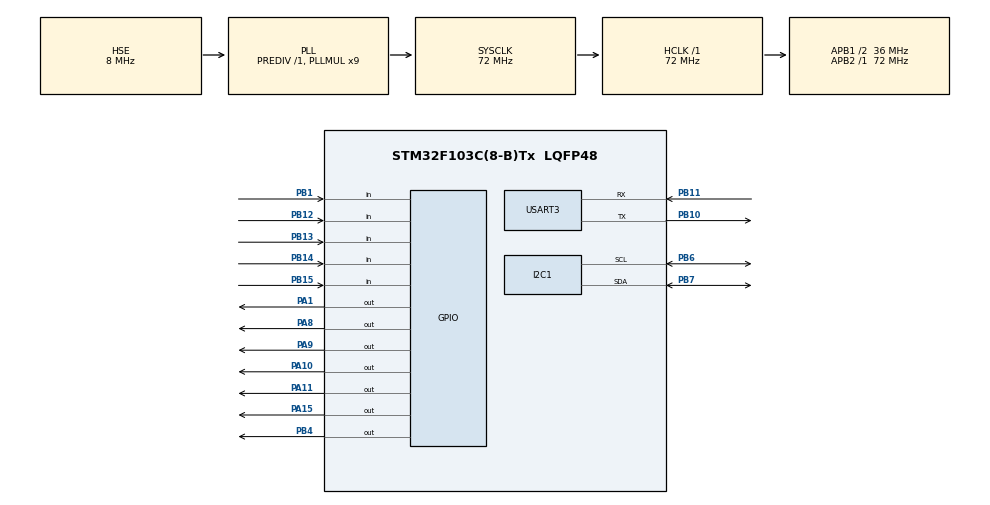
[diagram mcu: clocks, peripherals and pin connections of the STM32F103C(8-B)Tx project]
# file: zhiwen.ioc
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Mcu.Family=STM32F1
Mcu.Name=STM32F103C(8-B)Tx
Mcu.Package=LQFP48
NVIC.PriorityGroup=NVIC_PRIORITYGROUP_4
NVIC.TIM3_IRQn=true\:0\:0\:false\:false\:true\:true
NVIC.USART3_IRQn=true\:0\:0\:false\:false\:true\:true
PA1.PinState=GPIO_PIN_RESET
PA1.Signal=GPIO_Output
PA10.Signal=GPIO_Output
PA11.Signal=GPIO_Output
PA13.Mode=Serial_Wire
PA13.Signal=SYS_JTMS-SWDIO
PA14.Mode=Serial_Wire
PA14.Signal=SYS_JTCK-SWCLK
PA15.Signal=GPIO_Output
PA8.Signal=GPIO_Output
PA9.Signal=GPIO_Output
PB1.GPIO_PuPd=GPIO_PULLDOWN
PB1.Signal=GPIO_Input
PB10.Mode=Asynchronous
PB10.Signal=USART3_TX
PB11.Mode=Asynchronous
PB11.Signal=USART3_RX
PB12.GPIO_PuPd=GPIO_PULLUP
PB12.Signal=GPIO_Input
PB13.GPIO_PuPd=GPIO_PULLUP
PB13.Signal=GPIO_Input
PB14.GPIO_PuPd=GPIO_PULLUP
PB14.Signal=GPIO_Input
PB15.GPIO_PuPd=GPIO_PULLUP
PB15.Signal=GPIO_Input
PB4.PinState=GPIO_PIN_SET
PB4.Signal=GPIO_Output
PB6.Mode=I2C
PB6.Signal=I2C1_SCL
PB7.Mode=I2C
PB7.Signal=I2C1_SDA
PD0-OSC_IN.Mode=HSE-External-Oscillator
PD0-OSC_IN.Signal=RCC_OSC_IN
PD1-OSC_OUT.Mode=HSE-External-Oscillator
PD1-OSC_OUT.Signal=RCC_OSC_OUT
ProjectManager.HeapSize=0x200
ProjectManager.StackSize=0x400
ProjectManager.TargetToolchain=EWARM V7
RCC.AHBFreq_Value=72000000
RCC.APB1CLKDivider=RCC_HCLK_DIV2
RCC.APB1Freq_Value=36000000
RCC.APB1TimFreq_Value=72000000
RCC.APB2Freq_Value=72000000
RCC.APB2TimFreq_Value=72000000
RCC.HCLKFreq_Value=72000000
RCC.PLLMUL=RCC_PLL_MUL9
RCC.PLLSourceVirtual=RCC_PLLSOURCE_HSE
RCC.SYSCLKFreq_VALUE=72000000
RCC.SYSCLKSource=RCC_SYSCLKSOURCE_PLLCLK
RCC.USBFreq_Value=72000000
TIM3.Period=1000-1
TIM3.Prescaler=72-1
USART3.VirtualMode=VM_ASYNC
VP_TIM3_VS_ClockSourceINT.Mode=Internal
board=custom

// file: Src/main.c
/**
  ******************************************************************************
  * @file           : main.c
  * @brief          : Main program body
  ******************************************************************************
  ** This notice applies to any and all portions of this file
  * that are not between comment pairs USER CODE BEGIN and
  * USER CODE END. Other portions of this file, whether
  * inserted by the user or by software development tools
  * are owned by their respective copyright owners.
  *
  * COPYRIGHT(c) 2019 STMicroelectronics
  *
  * Redistribution and use in source and binary forms, with or without modification,
  * are permitted provided that the following conditions are met:
  *   1. Redistributions of source code must retain the above copyright notice,
  *      this list of conditions and the following disclaimer.
  *   2. Redistributions in binary form must reproduce the above copyright notice,
  *      this list of conditions and the following disclaimer in the documentation
  *      and/or other materials provided with the distribution.
  *   3. Neither the name of STMicroelectronics nor the names of its contributors
  *      may be used to endorse or promote products derived from this software
  *      without specific prior written permission.
  *
  * THIS SOFTWARE IS PROVIDED BY THE COPYRIGHT HOLDERS AND CONTRIBUTORS "AS IS"
  * AND ANY EXPRESS OR IMPLIED WARRANTIES, INCLUDING, BUT NOT LIMITED TO, THE
  * IMPLIED WARRANTIES OF MERCHANTABILITY AND FITNESS FOR A PARTICULAR PURPOSE ARE
  * DISCLAIMED. IN NO EVENT SHALL THE COPYRIGHT HOLDER OR CONTRIBUTORS BE LIABLE
  * FOR ANY DIRECT, INDIRECT, INCIDENTAL, SPECIAL, EXEMPLARY, OR CONSEQUENTIAL
  * DAMAGES (INCLUDING, BUT NOT LIMITED TO, PROCUREMENT OF SUBSTITUTE GOODS OR
  * SERVICES; LOSS OF USE, DATA, OR PROFITS; OR BUSINESS INTERRUPTION) HOWEVER
  * CAUSED AND ON ANY THEORY OF LIABILITY, WHETHER IN CONTRACT, STRICT LIABILITY,
  * OR TORT (INCLUDING NEGLIGENCE OR OTHERWISE) ARISING IN ANY WAY OUT OF THE USE
  * OF THIS SOFTWARE, EVEN IF ADVISED OF THE POSSIBILITY OF SUCH DAMAGE.
  *
  ******************************************************************************
  */
#include "main.h"
#include "stm32f1xx_hal.h"
#include "i2c.h"
#include "tim.h"
#include "usart.h"
#include "gpio.h"

/* USER CODE BEGIN Includes */
#include "bsp_EEPROM.h"
#include "HW_key.h"
#include "as608.h"
/* USER CODE END Includes */

/* USER CODE BEGIN PV */
/* Private variables ---------------------------------------------------------*/

/* USER CODE END PV */

void SystemClock_Config(void);

/* USER CODE BEGIN PFP */
/* Private function prototypes -----------------------------------------------*/

/* USER CODE END PFP */

/* USER CODE BEGIN 0 */
uint8_t I2c_Buf_Write[256]={0};
uint8_t I2c_Buf_Read[256]={0};
uint8_t key[8];
SysPara AS608Para;//指纹模块AS608参数
u16 ValidN;//模块内有效指纹个数
void Add_FR(void);	//录指纹
void Del_FR(void);	//删除指纹
void press_FR(void);//刷指纹
//显示确认码错误信息
void ShowErrMessage(u8 ensure)
{
//	LCD_Fill(0,120,lcddev.width,160,WHITE);
//	Show_Str_Mid(0,120,(u8*)EnsureMessage(ensure),16,240);
}
/* USER CODE END 0 */

int main(void)
{
  /* USER CODE BEGIN 1 */
  u8 ensure;
  /* USER CODE END 1 */

  /* MCU Configuration----------------------------------------------------------*/

  /* Reset of all peripherals, Initializes the Flash interface and the Systick. */
  HAL_Init();

  /* Configure the system clock */
  SystemClock_Config();

  /* Initialize all configured peripherals */
  MX_GPIO_Init();
  MX_I2C1_Init();
  MX_USART3_UART_Init();
  MX_TIM3_Init();
  /* USER CODE BEGIN 2 */
 __HAL_UART_ENABLE_IT(&huart3,UART_IT_RXNE);//开启接收中断
// HAL_TIM_Base_Start_IT(&htim3);
//  uint16_t i;
//  	for ( i=0; i<256; i++ ) //填充缓冲
//  {
//    I2c_Buf_Read[i]=0;      // 清空接收缓冲区
//    I2c_Buf_Write[i] = i;   // 为发送缓冲区填充数据
//    printf("0x%02X ", I2c_Buf_Write[i]);
//    if(i%16 == 15)
//        printf("\n");
//   }
//  for(i=0;i<256;i+=8)
//  {
//    I2C_EEPROM_WriteBuffer(EEPROM_I2C_ADDRESS,i,I2C_MEMADD_SIZE_8BIT,&I2c_Buf_Write[i],8);
//    HAL_Delay(5);// 短延时不能少
//  }
//
//   printf("读出的数据:\n");
//   I2C_EEPROM_ReadBuffer(EEPROM_I2C_ADDRESS,0,I2C_MEMADD_SIZE_8BIT,&I2c_Buf_Read[0],256);
//   for (i=0;i<256;i++)
//	 {
//    if(I2c_Buf_Read[i] != I2c_Buf_Write[i])
//		{
//			printf("0x%02X ", I2c_Buf_Read[i]);
//			printf("错误:I2C EEPROM写入与读出的数据不一致\n\r");
//			break;
//		}
//    printf("0x%02X ", I2c_Buf_Read[i]);
//    if(i%16 == 15)
//        printf("\n");
//	}
//  if(i==256)
//  {
//    printf("EEPROM(AT24C02)读写测试成功\n\r");
//  }
       	while(PS_HandShake(&AS608Addr))//与AS608模块握手
	{
          HAL_Delay(100);
	}
  char key_confirm;

  /* USER CODE END 2 */

  /* Infinite loop */
  /* USER CODE BEGIN WHILE */
  while (1)
  {

 //   ensure=PS_ValidTempleteNum(&ValidN);//读库指纹个数
   // key_confirm = KEY_SCAN();
    Add_FR();
    printf("1");
  /* USER CODE END WHILE */

  }

}

void SystemClock_Config(void)
{

  RCC_OscInitTypeDef RCC_OscInitStruct;
  RCC_ClkInitTypeDef RCC_ClkInitStruct;

    /**Initializes the CPU, AHB and APB busses clocks
    */
  RCC_OscInitStruct.OscillatorType = RCC_OSCILLATORTYPE_HSE;
  RCC_OscInitStruct.HSEState = RCC_HSE_ON;
  RCC_OscInitStruct.HSEPredivValue = RCC_HSE_PREDIV_DIV1;
  RCC_OscInitStruct.HSIState = RCC_HSI_ON;
  RCC_OscInitStruct.PLL.PLLState = RCC_PLL_ON;
  RCC_OscInitStruct.PLL.PLLSource = RCC_PLLSOURCE_HSE;
  RCC_OscInitStruct.PLL.PLLMUL = RCC_PLL_MUL9;
  if (HAL_RCC_OscConfig(&RCC_OscInitStruct) != HAL_OK)
  {
    _Error_Handler(__FILE__, __LINE__);
  }

    /**Initializes the CPU, AHB and APB busses clocks
    */
  RCC_ClkInitStruct.ClockType = RCC_CLOCKTYPE_HCLK|RCC_CLOCKTYPE_SYSCLK
                              |RCC_CLOCKTYPE_PCLK1|RCC_CLOCKTYPE_PCLK2;
  RCC_ClkInitStruct.SYSCLKSource = RCC_SYSCLKSOURCE_PLLCLK;
  RCC_ClkInitStruct.AHBCLKDivider = RCC_SYSCLK_DIV1;
  RCC_ClkInitStruct.APB1CLKDivider = RCC_HCLK_DIV2;
  RCC_ClkInitStruct.APB2CLKDivider = RCC_HCLK_DIV1;

  if (HAL_RCC_ClockConfig(&RCC_ClkInitStruct, FLASH_LATENCY_2) != HAL_OK)
  {
    _Error_Handler(__FILE__, __LINE__);
  }

    /**Configure the Systick interrupt time
    */
  HAL_SYSTICK_Config(HAL_RCC_GetHCLKFreq()/1000);

    /**Configure the Systick
    */
  HAL_SYSTICK_CLKSourceConfig(SYSTICK_CLKSOURCE_HCLK);

  /* SysTick_IRQn interrupt configuration */
  HAL_NVIC_SetPriority(SysTick_IRQn, 0, 0);
}

/* USER CODE BEGIN 4 */
//录指纹
void Add_FR(void)
{
	u8 i,ensure ,processnum=0;
	u16 ID;
	while(1)
	{
		switch (processnum)
		{
			case 0:
				i++;
			//	LCD_Fill(0,100,lcddev.width,160,WHITE);
				//Show_Str_Mid(0,100,"请按指纹",16,240);
				ensure=PS_GetImage();
				if(ensure==0x00)
				{
					//PCF8574_WriteBit(BEEP_IO,0);//打开蜂鸣器
					ensure=PS_GenChar(CharBuffer1);//生成特征
					//PCF8574_WriteBit(BEEP_IO,1);//关闭蜂鸣器
					if(ensure==0x00)
					{
					//	LCD_Fill(0,120,lcddev.width,160,WHITE);
						//Show_Str_Mid(0,120,"指纹正常",16,240);
						i=0;
						processnum=1;//跳到第二步
					}else ShowErrMessage(ensure);
				}else ShowErrMessage(ensure);
				break;

			case 1:
				i++;
	//			LCD_Fill(0,100,lcddev.width,160,WHITE);
				//Show_Str_Mid(0,100,"请按再按一次指纹",16,240);
				ensure=PS_GetImage();
				if(ensure==0x00)
				{
				//	PCF8574_WriteBit(BEEP_IO,0);//打开蜂鸣器
					ensure=PS_GenChar(CharBuffer2);//生成特征
			//		PCF8574_WriteBit(BEEP_IO,1);//关闭蜂鸣器
					if(ensure==0x00)
					{
						//LCD_Fill(0,120,lcddev.width,160,WHITE);
						//Show_Str_Mid(0,120,"指纹正常",16,240);
						i=0;
						processnum=2;//跳到第三步
					}else ShowErrMessage(ensure);
				}else ShowErrMessage(ensure);
				break;

			case 2:
			//	LCD_Fill(0,100,lcddev.width,160,WHITE);
				//Show_Str_Mid(0,100,"对比两次指纹",16,240);
				ensure=PS_Match();
				if(ensure==0x00)
				{
			//		LCD_Fill(0,120,lcddev.width,160,WHITE);
					//Show_Str_Mid(0,120,"对比成功,两次指纹一样",16,240);
					processnum=3;//跳到第四步
				}
				else
				{
			//		LCD_Fill(0,100,lcddev.width,160,WHITE);
					//Show_Str_Mid(0,100,"对比失败，请重新录入指纹",16,240);
					ShowErrMessage(ensure);
					i=0;
					processnum=0;//跳回第一步
				}
				HAL_Delay(1200);
				break;

			case 3:
		//		LCD_Fill(0,100,lcddev.width,160,WHITE);
				//Show_Str_Mid(0,100,"生成指纹模板",16,240);
				ensure=PS_RegModel();
				if(ensure==0x00)
				{
		//			LCD_Fill(0,120,lcddev.width,160,WHITE);
					//Show_Str_Mid(0,120,"生成指纹模板成功",16,240);
					processnum=4;//跳到第五步
				}else {processnum=0;ShowErrMessage(ensure);}
				HAL_Delay(1200);
				break;

			case 4:
			//	LCD_Fill(0,100,lcddev.width,160,WHITE);
				//Show_Str_Mid(0,100,"请输入储存ID,按Enter保存",16,240);
				//Show_Str_Mid(0,120,"0=< ID <=299",16,240);
				do
					//ID=GET_NUM();
                                        ID = 10;
				while(!(ID<AS608Para.PS_max));//输入ID必须小于指纹容量的最大值
				ensure=PS_StoreChar(CharBuffer2,ID);//储存模板
				if(ensure==0x00)
				{
				//	LCD_Fill(0,100,lcddev.width,160,WHITE);
					//Show_Str_Mid(0,120,"录入指纹成功",16,240);
					PS_ValidTempleteNum(&ValidN);//读库指纹个数
				//	LCD_ShowNum(56,80,AS608Para.PS_max-ValidN,3,16);
					HAL_Delay(1500);
				//	LCD_Fill(0,100,240,160,WHITE);
					return ;
				}else {processnum=0;ShowErrMessage(ensure);}
				break;
		}
		HAL_Delay(400);
		if(i==5)//超过5次没有按手指则退出
		{
		//	LCD_Fill(0,100,lcddev.width,160,WHITE);
			break;
		}
	}
}

////刷指纹
//void press_FR(void)
//{
//	SearchResult seach;
//	u8 ensure;
//	char *str;
//	ensure=PS_GetImage();
//	if(ensure==0x00)//获取图像成功
//	{
//		PCF8574_WriteBit(BEEP_IO,0);//打开蜂鸣器
//		ensure=PS_GenChar(CharBuffer1);
//		if(ensure==0x00) //生成特征成功
//		{
//			PCF8574_WriteBit(BEEP_IO,1);//关闭蜂鸣器
//			ensure=PS_HighSpeedSearch(CharBuffer1,0,AS608Para.PS_max,&seach);
//			if(ensure==0x00)//搜索成功
//			{
//				LCD_Fill(0,100,lcddev.width,160,WHITE);
//				//Show_Str_Mid(0,100,"刷指纹成功",16,240);
//				str=mymalloc(SRAMIN,50);
//				sprintf(str,"确有此人,ID:%d  匹配得分:%d",seach.pageID,seach.mathscore);
//				//Show_Str_Mid(0,140,(u8*)str,16,240);
//				myfree(SRAMIN,str);
//			}
//			else
//				ShowErrMessage(ensure);
//	  }
//		else
//			ShowErrMessage(ensure);
//	 PCF8574_WriteBit(BEEP_IO,1);//关闭蜂鸣器
//	 HAL_Delay(600);
//	 LCD_Fill(0,100,lcddev.width,160,WHITE);
//	}
//
//}
//
////删除指纹
//void Del_FR(void)
//{
//	u8  ensure;
//	u16 num;
//	LCD_Fill(0,100,lcddev.width,160,WHITE);
//	//Show_Str_Mid(0,100,"删除指纹",16,240);
//	//Show_Str_Mid(0,120,"请输入指纹ID按Enter发送",16,240);
//	//Show_Str_Mid(0,140,"0=< ID <=299",16,240);
//	HAL_Delay(50);
//	AS608_load_keyboard(0,170,(u8**)kbd_delFR);
//	num=GET_NUM();//获取返回的数值
//	if(num==0xFFFF)
//		goto MENU ; //返回主页面
//	else if(num==0xFF00)
//		ensure=PS_Empty();//清空指纹库
//	else
//		ensure=PS_DeletChar(num,1);//删除单个指纹
//	if(ensure==0)
//	{
//		LCD_Fill(0,120,lcddev.width,160,WHITE);
//		//Show_Str_Mid(0,140,"删除指纹成功",16,240);
//	}
//  else
//		ShowErrMessage(ensure);
//	HAL_Delay(1200);
//	PS_ValidTempleteNum(&ValidN);//读库指纹个数
//	LCD_ShowNum(56,80,AS608Para.PS_max-ValidN,3,16);
//MENU:
//	LCD_Fill(0,100,lcddev.width,160,WHITE);
//	HAL_Delay(50);
//	AS608_load_keyboard(0,170,(u8**)kbd_menu);
//}

/* USER CODE END 4 */

void _Error_Handler(char *file, int line)
{
  while(1)
  {
  }
}

/************************ (C) COPYRIGHT STMicroelectronics *****END OF FILE****/
